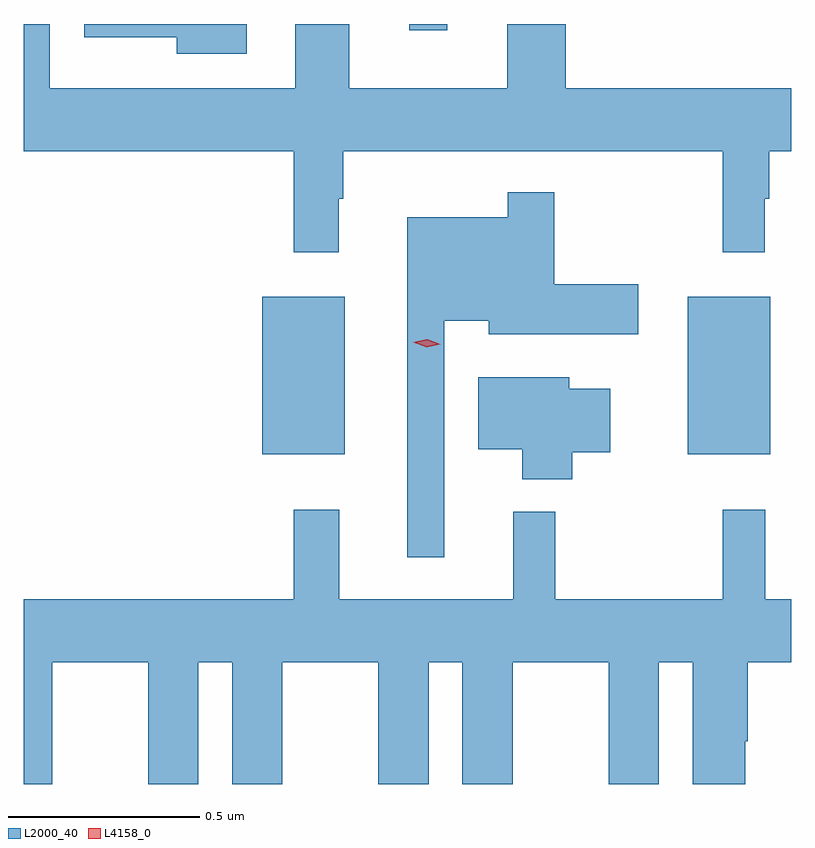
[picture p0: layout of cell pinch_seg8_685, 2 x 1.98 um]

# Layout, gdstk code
import gdstk
lib = gdstk.Library(unit=1e-6, precision=1e-09)
def R(c, l, rs):  # rectangles x0, y0, x1, y1
    for r in rs: c.add(gdstk.rectangle(r[:2], r[2:], *l))
def P(c, l, *ps):  # polygons
    for p in ps: c.add(gdstk.Polygon(p, *l))
L2000_40 = (2000, 40)
L4158_0 = (4158, 0)

pinch_seg8_685 = lib.new_cell('pinch_seg8_685')
R(pinch_seg8_685, L2000_40, [(262.814,1086.407,263.029,1086.817), (263.924,1086.407,264.139,1086.817), (263.198,1087.512,263.296,1087.528)])
P(pinch_seg8_685, L2000_40, [(262.774,1087.528),(262.35,1087.528),(262.35,1087.493),(262.592,1087.493),(262.592,1087.451),(262.774,1087.451)],
  [(263.014,1087.073),(263.026,1087.073),(263.026,1087.196),(264.015,1087.196),(264.015,1086.933),(264.124,1086.933),(264.124,1087.073),(264.136,1087.073),(264.136,1087.196),(264.193,1087.196),(264.193,1087.36),(263.606,1087.36),(263.606,1087.528),(263.453,1087.528),(263.453,1087.36),(263.041,1087.36),(263.041,1087.528),(262.901,1087.528),(262.901,1087.36),(262.261,1087.36),(262.261,1087.528),(262.193,1087.528),(262.193,1087.196),(262.897,1087.196),(262.897,1086.933),(263.014,1086.933)],
  [(263.289,1086.755),(263.405,1086.755),(263.405,1086.719),(263.794,1086.719),(263.794,1086.849),(263.575,1086.849),(263.575,1087.09),(263.454,1087.09),(263.454,1087.024),(263.192,1087.024),(263.192,1086.138),(263.289,1086.138)],
  [(263.622,1086.412),(263.722,1086.412),(263.722,1086.577),(263.614,1086.577),(263.614,1086.607),(263.378,1086.607),(263.378,1086.419),(263.492,1086.419),(263.492,1086.341),(263.622,1086.341)],
  [(262.267,1085.864),(262.517,1085.864),(262.517,1085.547),(262.648,1085.547),(262.648,1085.864),(262.736,1085.864),(262.736,1085.547),(262.867,1085.547),(262.867,1085.864),(263.117,1085.864),(263.117,1085.547),(263.248,1085.547),(263.248,1085.864),(263.336,1085.864),(263.336,1085.547),(263.467,1085.547),(263.467,1085.864),(263.717,1085.864),(263.717,1085.547),(263.848,1085.547),(263.848,1085.864),(263.936,1085.864),(263.936,1085.547),(264.073,1085.547),(264.073,1085.659),(264.08,1085.659),(264.08,1085.864),(264.193,1085.864),(264.193,1086.028),(264.125,1086.028),(264.125,1086.262),(264.015,1086.262),(264.015,1086.028),(263.578,1086.028),(263.578,1086.256),(263.468,1086.256),(263.468,1086.028),(263.015,1086.028),(263.015,1086.262),(262.897,1086.262),(262.897,1086.028),(262.193,1086.028),(262.193,1085.547),(262.267,1085.547)])
P(pinch_seg8_685, L4158_0, [(263.243,1086.686),(263.208,1086.698),(263.208,1086.698),(263.208,1086.698),(263.244,1086.706),(263.279,1086.693),(263.279,1086.693),(263.279,1086.693)])

lib.write_gds('pinch_seg8_685.gds')
